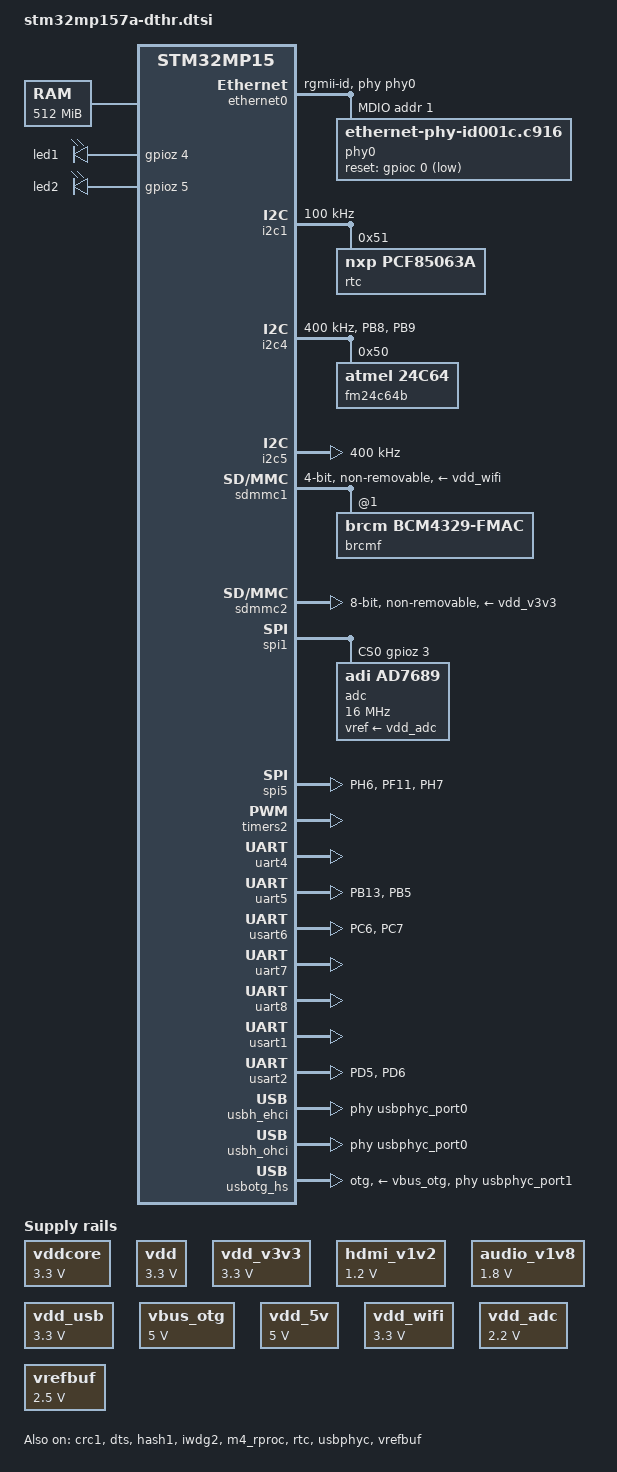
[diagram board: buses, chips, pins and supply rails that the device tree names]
// SPDX-License-Identifier: (GPL-2.0+ OR BSD-3-Clause)
/*
 * Copyright (C) STMicroelectronics 2019 - All Rights Reserved
 * Author: Alexandre Torgue <alexandre.torgue@st.com> for STMicroelectronics.
 */

#include "stm32mp15-m4-srm.dtsi"
#include "stm32mp15-m4-srm-pinctrl.dtsi"
#include <dt-bindings/gpio/gpio.h>
#include <dt-bindings/input/input.h>
#include <dt-bindings/rtc/rtc-stm32.h>

/ {
	aliases {
		ethernet0 = &ethernet0;
		serial0 = &uart4;
		serial3 = &usart1;
		serial1 = &usart2;
		serial2 = &usart3;
		serial4 = &uart5;
		serial5 = &usart6;
		serial6 = &uart7;
		serial7 = &uart8;
	};

	memory@c0000000 {
		device_type = "memory";
		reg = <0xc0000000 0x20000000>;
	};

	reserved-memory {
		#address-cells = <1>;
		#size-cells = <1>;
		ranges;

		mcuram2: mcuram2@10000000 {
			compatible = "shared-dma-pool";
			reg = <0x10000000 0x40000>;
			no-map;
		};

		vdev0vring0: vdev0vring0@10040000 {
			compatible = "shared-dma-pool";
			reg = <0x10040000 0x1000>;
			no-map;
		};

		vdev0vring1: vdev0vring1@10041000 {
			compatible = "shared-dma-pool";
			reg = <0x10041000 0x1000>;
			no-map;
		};

		vdev0buffer: vdev0buffer@10042000 {
			compatible = "shared-dma-pool";
			reg = <0x10042000 0x4000>;
			no-map;
		};

		mcu_rsc_table: mcu_rsc_table@10048000 {
			compatible = "shared-dma-pool";
			reg = <0x10048000 0x8000>;
			no-map;
		};

		mcuram: mcuram@30000000 {
			compatible = "shared-dma-pool";
			reg = <0x30000000 0x40000>;
			no-map;
		};

		retram: retram@38000000 {
			compatible = "shared-dma-pool";
			reg = <0x38000000 0x10000>;
			no-map;
		};

		gpu_reserved: gpu@d4000000 {
			reg = <0xd4000000 0x4000000>;
			no-map;
		};

		optee@de000000 {
			reg = <0xde000000 0x2000000>;
			no-map;
		};
	};

	led {
		compatible = "gpio-leds";
		led1 {
			label = "led1";
			gpios = <&gpioz 4 GPIO_ACTIVE_HIGH>;
			linux,default-trigger = "heartbeat";
			default-state = "on";
		};

		led2 {
			label = "led2";
			gpios = <&gpioz 5 GPIO_ACTIVE_HIGH>;
			linux,default-trigger = "heartbeat";
			default-state = "on";
		};
	};

	vddcore: regulator-vddcore {
		compatible = "regulator-fixed";
		regulator-name = "vddcore";
		regulator-min-microvolt = <3300000>;
		regulator-max-microvolt = <3300000>;
		regulator-always-on;
		regulator-boot-on;
	};

	vdd: regulator-vdd {
		compatible = "regulator-fixed";
		regulator-name = "vdd";
		regulator-min-microvolt = <3300000>;
		regulator-max-microvolt = <3300000>;
		regulator-always-on;
		regulator-boot-on;
	};
	
	vdd_v3v3: regulator-vdd-v3v3 {
		compatible = "regulator-fixed";
		regulator-name = "vdd_v3v3";
		regulator-min-microvolt = <3300000>;
		regulator-max-microvolt = <3300000>;
		regulator-always-on;
		regulator-boot-on;
	};

	hdmi_v1v2: regulator-hdmi-v1v2 {
		compatible = "regulator-fixed";
		regulator-name = "hdmi_v1v2";
		regulator-min-microvolt = <1200000>;
		regulator-max-microvolt = <1200000>;
		regulator-always-on;
		regulator-boot-on;
	};

	audio_v1v8: regulator-audio-v1v8 {
		compatible = "regulator-fixed";
		regulator-name = "audio_v1v8";
		regulator-min-microvolt = <1800000>;
		regulator-max-microvolt = <1800000>;
		regulator-always-on;
		regulator-boot-on;
	};
	
	vdd_usb: regulator-vdd-usb {
		compatible = "regulator-fixed";
		regulator-name = "vdd_usb";
		regulator-min-microvolt = <3300000>;
		regulator-max-microvolt = <3300000>;
		regulator-always-on;
		regulator-boot-on;
	};

	vbus_otg: regulator-vbus-otg {
		compatible = "regulator-fixed";
		regulator-name = "vbus_otg";
		regulator-min-microvolt = <5000000>;
		regulator-max-microvolt = <5000000>;
		regulator-always-on;
		regulator-boot-on;
	};

	usb_phy_tuning: usb-phy-tuning {
		st,hs-dc-level = <2>;
		st,fs-rftime-tuning;
		st,hs-rftime-reduction;
		st,hs-current-trim = <15>;
		st,hs-impedance-trim = <1>;
		st,squelch-level = <3>;
		st,hs-rx-offset = <2>;
		st,no-lsfs-sc;
	};

	vdd_5v: regulator-vdd-5v {
		compatible = "regulator-fixed";
		regulator-name = "vdd_5v";
		regulator-min-microvolt = <5000000>;
		regulator-max-microvolt = <5000000>;
		regulator-always-on;
		regulator-boot-on;
	};


	vdd_wifi: wifi-pwr {
		compatible = "regulator-fixed";
		regulator-name = "vdd_wifi";
		regulator-min-microvolt = <3300000>;
		regulator-max-microvolt = <3300000>;
		regulator-always-on;
		regulator-boot-on;
	};

	vdd_adc: regulator-vdd-0v {
		compatible = "regulator-fixed";
		regulator-name = "vdd_adc_0v";
		regulator-min-microvolt = <2200000>;
		regulator-max-microvolt = <2200000>;
		regulator-always-on;
		regulator-boot-on;
	};


};

&pinctrl {
	pwm2_pins_b: pwm2-0 {
		pins {
			pinmux = <STM32_PINMUX('A', 5, AF1)>; /* TIM2_CH1 */
			bias-pull-down;
			drive-push-pull;
			slew-rate = <0>;
		};
	};

	pwm2_sleep_pins_b: pwm2-sleep-0 {
		pins {
			pinmux = <STM32_PINMUX('A', 5, ANALOG)>; /* TIM2_CH1 */
		};
	};

	usart2_pins_c: usart2-2 {
		pins1 {
			pinmux = <STM32_PINMUX('D', 5, AF7)>; /* USART2_TX */
			bias-disable;
			drive-push-pull;
			slew-rate = <0>;
		};
		pins2 {
			pinmux = <STM32_PINMUX('D', 6, AF7)>; /* USART2_RX */
			bias-disable;
		};
	};

	usart2_idle_pins_c: usart2-idle-2 {
		pins1 {
			pinmux = <STM32_PINMUX('D', 5, ANALOG)>; /* USART2_TX */
		};
		pins2 {
			pinmux = <STM32_PINMUX('D', 6, AF7)>; /* USART2_RX */
			bias-disable;
		};
	};

	usart2_sleep_pins_c: usart2-sleep-2 {
		pins {
			pinmux = <STM32_PINMUX('D', 5, ANALOG)>, /* USART2_TX */
				 <STM32_PINMUX('D', 6, ANALOG)>; /* USART2_RX */
		};
	};

	spi5_pins_b: spi5-1 {
		pins1 {
			pinmux = <STM32_PINMUX('H', 6, AF5)>, /* SPI5_SCK */
				 <STM32_PINMUX('F', 11, AF5)>; /* SPI5_MOSI */
			bias-disable;
			drive-push-pull;
			slew-rate = <1>;
		};

		pins2 {
			pinmux = <STM32_PINMUX('H', 7, AF5)>; /* SPI5_MISO */
			bias-disable;
		};
	};

	spi5_sleep_pins_b: spi5-sleep-1 {
		pins {
			pinmux = <STM32_PINMUX('H', 6, ANALOG)>, /* SPI5_SCK */
				 <STM32_PINMUX('H', 7, ANALOG)>, /* SPI5_MISO */
				 <STM32_PINMUX('F', 11, ANALOG)>; /* SPI5_MOSI */
		};
	};

	uart5_pins_a: uart5-0 {
		pins1 {
			pinmux = <STM32_PINMUX('B', 13, AF14)>; /* UART5_TX */
			bias-disable;
			drive-push-pull;
			slew-rate = <0>;
		};
		pins2 {
			pinmux = <STM32_PINMUX('B', 5, AF12)>; /* UART5_RX */
			bias-disable;
		};
	};

	uart5_idle_pins_a: uart5-idle-0 {
		pins1 {
			pinmux = <STM32_PINMUX('B', 13, ANALOG)>; /* UART5_TX */
		};
		pins2 {
			pinmux = <STM32_PINMUX('B', 5, AF12)>; /* UART5_RX */
			bias-pull-up;
		};
	};

	uart5_sleep_pins_a: uart5-sleep-0 {
		pins {
			pinmux = <STM32_PINMUX('B', 13, ANALOG)>, /* UART5_TX */
				 <STM32_PINMUX('B', 5, ANALOG)>; /* UART5_RX */
		};
	};

	usart6_pins_a: usart6-0 {
		pins1 {
			pinmux = <STM32_PINMUX('C', 6, AF7)>; /* UsART6_TX */
			bias-disable;
			drive-push-pull;
			slew-rate = <0>;
		};
		pins2 {
			pinmux = <STM32_PINMUX('C', 7, AF7)>; /* USART6_RX */
			bias-disable;
		};
	};

	usart6_idle_pins_a: usart6-idle-0 {
		pins1 {
			pinmux = <STM32_PINMUX('C', 6, ANALOG)>; /* USART6_TX */
		};
		pins2 {
			pinmux = <STM32_PINMUX('C', 7, AF7)>; /* USART6_RX */
			bias-pull-up;
		};
	};

	usart6_sleep_pins_a: usart6-sleep-0 {
		pins {
			pinmux = <STM32_PINMUX('C', 6, ANALOG)>, /* USART6_TX */
				 <STM32_PINMUX('C', 7, ANALOG)>; /* USART6_RX */
		};
	};

	i2c4_pins_b: i2c4-1 {
		pins {
			pinmux = <STM32_PINMUX('B', 8, AF6)>, /* I2C4_SCL */
				 <STM32_PINMUX('B', 9, AF6)>; /* I2C4_SDA */
				 bias-disable;
				 drive-open-drain;
				 slew-rate = <0>;
		};
	};

	i2c4_sleep_pins_b: i2c4-sleep-1 {
		pins {
			pinmux = <STM32_PINMUX('B', 8, ANALOG)>, /* I2C4_SCL */
				 <STM32_PINMUX('B', 9, ANALOG)>; /* I2C4_SDA */
		};
	};
};

&pinctrl_z {
	usart1_pins_a: usart1-0 {
		pins1 {
			pinmux = <STM32_PINMUX('Z', 7, AF7)>; /* UsART6_TX */
			bias-disable;
			drive-push-pull;
			slew-rate = <0>;
		};
		pins2 {
			pinmux = <STM32_PINMUX('Z', 6, AF7)>; /* USART6_RX */
			bias-disable;
		};
	};

	usart1_idle_pins_a: usart1-idle-0 {
		pins1 {
			pinmux = <STM32_PINMUX('Z', 7, ANALOG)>; /* USART6_TX */
		};
		pins2 {
			pinmux = <STM32_PINMUX('Z', 6, AF7)>; /* USART6_RX */
			bias-pull-up;
		};
	};

	usart1_sleep_pins_a: usart1-sleep-0 {
		pins {
			pinmux = <STM32_PINMUX('Z', 7, ANALOG)>, /* USART6_TX */
				 <STM32_PINMUX('Z', 6, ANALOG)>; /* USART6_RX */
		};
	};


};

&adc {
	pinctrl-names = "default";
	pinctrl-0 = <&adc12_usb_cc_pins_a>;
	vdd-supply = <&vdd>;
	vdda-supply = <&vdd>;
	vref-supply = <&vrefbuf>;
	status = "disabled";
	adc1: adc@0 {
		status = "okay";
		/*
		 * Type-C USB_PWR_CC1 & USB_PWR_CC2 on in18 & in19.
		 * Use at least 5 * RC time, e.g. 5 * (Rp + Rd) * C:
		 * 5 * (56 + 47kOhms) * 5pF => 2.5us.
		 * Use arbitrary margin here (e.g. 5us).
		 */
		channel@18 {
			reg = <18>;
			st,min-sample-time-ns = <5000>;
		};
		channel@19 {
			reg = <19>;
			st,min-sample-time-ns = <5000>;
		};
	};
	adc2: adc@100 {
		status = "okay";
		/* USB Type-C CC1 & CC2 */
		channel@18 {
			reg = <18>;
			st,min-sample-time-ns = <5000>;
		};
		channel@19 {
			reg = <19>;
			st,min-sample-time-ns = <5000>;
		};
	};
};

&cpu0{
	cpu-supply = <&vddcore>;
};

&cpu1{
	cpu-supply = <&vddcore>;
};

&crc1 {
	status = "okay";
};

&dma1 {
	sram = <&dma_pool>;
};

&dma2 {
	sram = <&dma_pool>;
};

&dts {
	status = "okay";
};

&ethernet0 {
	status = "okay";
	pinctrl-0 = <&ethernet0_rgmii_pins_a>;
	pinctrl-1 = <&ethernet0_rgmii_sleep_pins_a>;
	pinctrl-names = "default", "sleep";
	phy-mode = "rgmii-id";
	max-speed = <1000>;
	phy-handle = <&phy0>;
	/*
	phy-mode = "rgmii-id";
	nvmem-cells = <&ethernet_mac_address>;
	nvmem-cell-names = "mac-address";
	*/

	mdio0 {
		#address-cells = <1>;
		#size-cells = <0>;
		compatible = "snps,dwmac-mdio";

		phy0: ethernet-phy@1 {
			/* 0x001cc916 */
			compatible = "ethernet-phy-id001c.c916", "ethernet-phy-ieee802.3-c22";
			reg = <1>;
			reset-gpios = <&gpioc 0 GPIO_ACTIVE_LOW>;
			reset-assert-us = <10000>;
			reset-deassert-us = <100000>;
		};
	};
};

&gpu {
	contiguous-area = <&gpu_reserved>;
};

&hash1 {
	status = "okay";
};

&i2c1 {
	pinctrl-names = "default", "sleep";
	pinctrl-0 = <&i2c1_pins_b>;
	pinctrl-1 = <&i2c1_sleep_pins_b>;
	i2c-scl-rising-time-ns = <100>;
	i2c-scl-falling-time-ns = <7>;
	clock-frequency = <100000>;
	status = "okay";
	/delete-property/dmas;
	/delete-property/dma-names;

	rtc@51 {
		compatible = "nxp,pcf85063a";
		reg = <0x51>;
	};
};

&i2c4 {
	pinctrl-names = "default", "sleep";
	pinctrl-0 = <&i2c4_pins_b>;
	pinctrl-1 = <&i2c4_sleep_pins_b>;
	/*i2c-scl-rising-time-ns = <185>;
	i2c-scl-falling-time-ns = <20>;*/
	clock-frequency = <400000>;
	status = "okay";
	/* spare dmas for other usage */
	/delete-property/dmas;
	/delete-property/dma-names;

	fm24c64b@50 {
		compatible = "atmel,24c64";
		reg = <0x50>;
	};
};

&i2c5 {
	pinctrl-names = "default", "sleep";
	pinctrl-0 = <&i2c5_pins_a>;
	pinctrl-1 = <&i2c5_sleep_pins_a>;
	/*i2c-scl-rising-time-ns = <185>;
	i2c-scl-falling-time-ns = <20>;*/
	clock-frequency = <400000>;
	/* spare dmas for other usage */
	/delete-property/dmas;
	/delete-property/dma-names;
	status = "okay";
};

&ipcc {
	status = "okay";
};

&iwdg2 {
	timeout-sec = <32>;
	status = "okay";
};

&m4_rproc {
	memory-region = <&retram>, <&mcuram>, <&mcuram2>, <&vdev0vring0>,
			<&vdev0vring1>, <&vdev0buffer>, <&mcu_rsc_table>;
	mboxes = <&ipcc 0>, <&ipcc 1>, <&ipcc 2>, <&ipcc 3>;
	mbox-names = "vq0", "vq1", "shutdown", "detach";
	interrupt-parent = <&exti>;
	interrupts = <68 1>;
	wakeup-source;
	status = "okay";
};

&pwr_regulators {
	vdd-supply = <&vdd>;
	vdd_3v3_usbfs-supply = <&vdd_usb>;
};

&rtc {
	status = "okay";
	st,lsco = <RTC_OUT2_RMP>;
	pinctrl-0 = <&rtc_out2_rmp_pins_a>;
	pinctrl-names = "default";
};

&sdmmc1 {
	pinctrl-names = "default", "opendrain", "sleep";
	pinctrl-0 = <&sdmmc1_b4_pins_a>;
	pinctrl-1 = <&sdmmc1_b4_od_pins_a>;
	pinctrl-2 = <&sdmmc1_b4_sleep_pins_a>;
	non-removable;
	broken-cd;
	st,neg-edge;
	bus-width = <4>;
	vmmc-supply = <&vdd_wifi>;
	//mmc-pwrseq = <&wifi_pwrseq>;
	keep-power-in-suspend;
	#address-cells = <1>;
	#size-cells = <0>;
	status = "okay";

	brcmf: bcrmf@1 {
		reg = <1>;
		compatible = "brcm,bcm4329-fmac";
	};
};

&sdmmc2 {
	pinctrl-names = "default", "opendrain", "sleep";
	pinctrl-0 = <&sdmmc2_b4_pins_a &sdmmc2_d47_pins_a>;
	pinctrl-1 = <&sdmmc2_b4_od_pins_a &sdmmc2_d47_pins_a>;
	pinctrl-2 = <&sdmmc2_b4_sleep_pins_a &sdmmc2_d47_sleep_pins_a>;
	non-removable;
	st,neg-edge;
	bus-width = <8>;
	vmmc-supply = <&vdd_v3v3>;
	status = "okay";
};


&sdmmc3 {
	pinctrl-names = "default", "opendrain", "sleep";
	pinctrl-0 = <&sdmmc3_b4_pins_a>;
	pinctrl-1 = <&sdmmc3_b4_od_pins_a>;
	pinctrl-2 = <&sdmmc3_b4_sleep_pins_a>;
	broken-cd;
	st,neg-edge;
	bus-width = <4>;
	vmmc-supply = <&vdd_v3v3>;
	status = "disabled";
};

&spi1 {
	pinctrl-names = "default", "sleep";
	pinctrl-0 = <&spi1_pins_a>;
	pinctrl-1 = <&spi1_sleep_pins_a>;
	cs-gpios = <&gpioz 3 0>;
	status = "okay";

	adc@0 {
		compatible = "adi,ad7689";
		reg = <0>;
		vref-supply = <&vdd_adc>;
		spi-max-frequency = <16000000>;
        };
};

&spi5 {
	pinctrl-names = "default", "sleep";
	pinctrl-0 = <&spi5_pins_b>;
	pinctrl-1 = <&spi5_sleep_pins_b>;
	status = "okay";
};

&sram {
	dma_pool: dma_pool@0 {
		reg = <0x50000 0x10000>;
		pool;
	};
};

&timers1 {
	/* spare dmas for other usage */
	/delete-property/dmas;
	/delete-property/dma-names;
	status = "disabled";
	pwm {
		pinctrl-0 = <&pwm1_pins_a>;
		pinctrl-1 = <&pwm1_sleep_pins_a>;
		pinctrl-names = "default", "sleep";
		status = "okay";
	};
	timer@0 {
		status = "okay";
	};
};

&timers2 {
	status = "okay";
	/* spare dmas for other usage */
	/delete-property/dmas;
	/delete-property/dma-names;
	pwm2: pwm {
		pinctrl-0 = <&pwm2_pins_b>;
		pinctrl-1 = <&pwm2_sleep_pins_b>;
		pinctrl-names = "default", "sleep";
		#pwm-cells = <2>;
		status = "okay";
	};
	timer@1 {
		status = "disabled";
	};
};

&timers3 {
	/delete-property/dmas;
	/delete-property/dma-names;
	status = "disabled";
	pwm {
		pinctrl-0 = <&pwm3_pins_a>;
		pinctrl-1 = <&pwm3_sleep_pins_a>;
		pinctrl-names = "default", "sleep";
		status = "okay";
	};
	timer@2 {
		status = "okay";
	};
};

&timers4 {
	/delete-property/dmas;
	/delete-property/dma-names;
	status = "disabled";
	pwm {
		pinctrl-0 = <&pwm4_pins_a &pwm4_pins_b>;
		pinctrl-1 = <&pwm4_sleep_pins_a &pwm4_sleep_pins_b>;
		pinctrl-names = "default", "sleep";
		status = "okay";
	};
	timer@3 {
		status = "okay";
	};
};

&timers5 {
	/delete-property/dmas;
	/delete-property/dma-names;
	status = "disabled";
	pwm {
		pinctrl-0 = <&pwm5_pins_a>;
		pinctrl-1 = <&pwm5_sleep_pins_a>;
		pinctrl-names = "default", "sleep";
		status = "okay";
	};
	timer@4 {
		status = "okay";
	};
};

&timers6 {
	/delete-property/dmas;
	/delete-property/dma-names;
	status = "disabled";
	timer@5 {
		status = "disabled";
	};
};

&timers12 {
	/delete-property/dmas;
	/delete-property/dma-names;
	status = "disabled";
	pwm {
		pinctrl-0 = <&pwm12_pins_a>;
		pinctrl-1 = <&pwm12_sleep_pins_a>;
		pinctrl-names = "default", "sleep";
		status = "okay";
	};
	timer@11 {
		status = "okay";
	};
};

&uart4 {
	pinctrl-names = "default", "sleep", "idle";
	pinctrl-0 = <&uart4_pins_a>;
	pinctrl-1 = <&uart4_sleep_pins_a>;
	pinctrl-2 = <&uart4_idle_pins_a>;
	/delete-property/dmas;
	/delete-property/dma-names;
	status = "okay";
};

&uart5 {
	pinctrl-names = "default", "sleep", "idle";
	pinctrl-0 = <&uart5_pins_a>;
	pinctrl-1 = <&uart5_sleep_pins_a>;
	pinctrl-2 = <&uart5_idle_pins_a>;
	/delete-property/dmas;
	/delete-property/dma-names;
	status = "okay";
};

&usart6 {
	pinctrl-names = "default", "sleep", "idle";
	pinctrl-0 = <&usart6_pins_a>;
	pinctrl-1 = <&usart6_sleep_pins_a>;
	pinctrl-2 = <&usart6_idle_pins_a>;
	/delete-property/dmas;
	/delete-property/dma-names;
	status = "okay";
};

&uart7 {
	pinctrl-names = "default", "sleep", "idle";
	pinctrl-0 = <&uart7_pins_b>;
	pinctrl-1 = <&uart7_sleep_pins_b>;
	pinctrl-2 = <&uart7_idle_pins_b>;
	/delete-property/dmas;
	/delete-property/dma-names;
	status = "okay";
};

&uart8 {
	pinctrl-names = "default", "sleep", "idle";
	pinctrl-0 = <&uart8_pins_a>;
	pinctrl-1 = <&uart8_sleep_pins_a>;
	pinctrl-2 = <&uart8_idle_pins_a>;
	/delete-property/dmas;
	/delete-property/dma-names;
	status = "okay";
};

&usart1 {
	pinctrl-names = "default", "sleep", "idle";
	pinctrl-0 = <&usart1_pins_a>;
	pinctrl-1 = <&usart1_sleep_pins_a>;
	pinctrl-2 = <&usart1_idle_pins_a>;
	uart-has-rtscts;
	status = "okay";
};

&usart2 {
	pinctrl-names = "default", "sleep", "idle";
	pinctrl-0 = <&usart2_pins_c>;
	pinctrl-1 = <&usart2_sleep_pins_c>;
	pinctrl-2 = <&usart2_idle_pins_c>;
	status = "okay";
};

&usbh_ehci {
	phys = <&usbphyc_port0>;
	status = "okay";
};

&usbh_ohci {
	phys = <&usbphyc_port0>;
	status = "okay";
};

&usbotg_hs {
	pinctrl-names = "default";
	pinctrl-0 = <&usbotg_hs_pins_a>;
	dr_mode = "otg";
	phys = <&usbphyc_port1 0>;
	phy-names = "usb2-phy";
	vbus-supply = <&vbus_otg>;
	status = "okay";
/*
	phys = <&usbphyc_port1 0>;
	phy-names = "usb2-phy";
	usb-role-switch;
	status = "okay";
*/
};

&usbphyc {
	status = "okay";
};

&usbphyc_port0 {
	phy-supply = <&vdd_usb>;
	st,phy-tuning = <&usb_phy_tuning>;
};

&usbphyc_port1 {
	phy-supply = <&vdd_usb>;
	st,phy-tuning = <&usb_phy_tuning>;
};

&vrefbuf {
	regulator-min-microvolt = <2500000>;
	regulator-max-microvolt = <2500000>;
	vdda-supply = <&vdd>;
	status = "okay";
};
